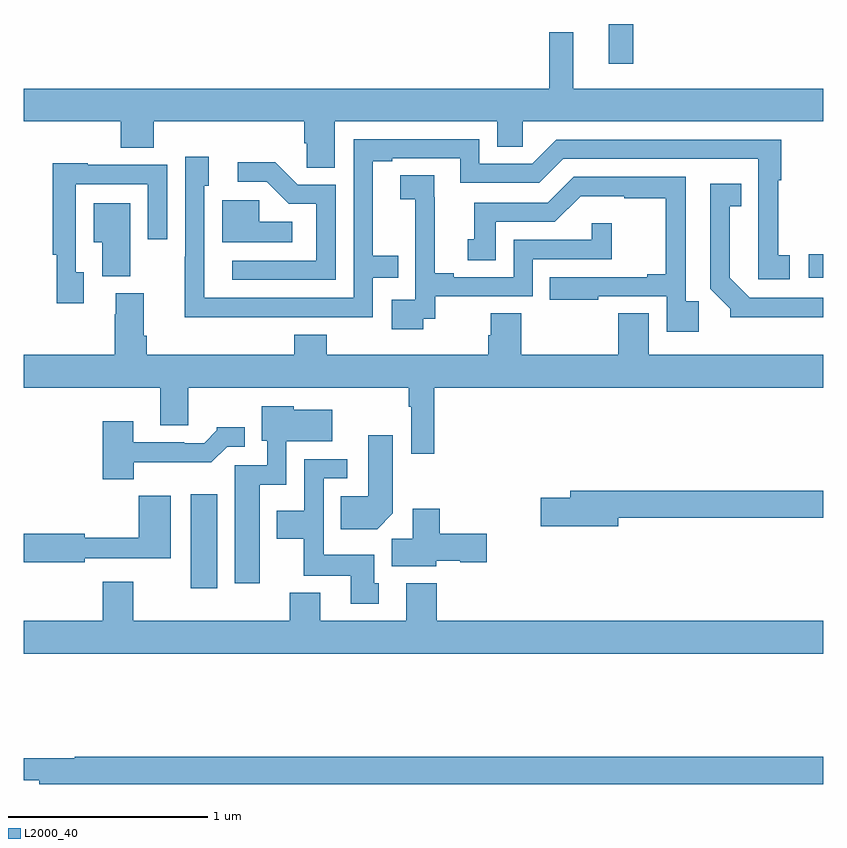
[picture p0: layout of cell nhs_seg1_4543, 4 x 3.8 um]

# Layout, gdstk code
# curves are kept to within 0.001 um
import gdstk
lib = gdstk.Library(unit=1e-6, precision=1e-09)
def R(c, l, rs):  # rectangles x0, y0, x1, y1
    for r in rs: c.add(gdstk.rectangle(r[:2], r[2:], *l))
def P(c, l, *ps):  # polygons
    for p in ps: c.add(gdstk.Polygon(p, *l))
L2000_40 = (2000, 40)

nhs_seg1_4543 = lib.new_cell('nhs_seg1_4543')
R(nhs_seg1_4543, L2000_40, [(357.836,569.376,357.967,569.845), (360.927,570.93,361,571.046), (359.927,572.001,360.049,572.199)])
P(nhs_seg1_4543, L2000_40, [(358.555,571.712),(359.369,571.712),(359.369,571.585),(359.496,571.585),(359.496,571.712),(361,571.712),(361,571.876),(359.749,571.876),(359.749,572.158),(359.628,572.158),(359.628,571.876),(357,571.876),(357,571.712),(357.485,571.712),(357.485,571.579),(357.65,571.579),(357.65,571.712),(358.403,571.712),(358.403,571.603),(358.416,571.603),(358.416,571.48),(358.555,571.48)],
  [(358.268,570.732),(358.746,570.732),(358.746,570.93),(358.874,570.93),(358.874,571.039),(358.747,571.039),(358.747,571.512),(358.843,571.512),(358.843,571.527),(359.184,571.527),(359.184,571.404),(359.58,571.404),(359.7,571.524),(360.675,571.524),(360.674,570.921),(360.832,570.921),(360.832,571.041),(360.774,571.041),(360.774,571.417),(360.791,571.417),(360.791,571.62),(359.664,571.62),(359.544,571.5),(359.28,571.5),(359.28,571.623),(358.65,571.623),(358.65,570.828),(357.903,570.828),(357.903,571.389),(357.925,571.389),(357.925,571.534),(357.807,571.534),(357.806,570.731)],
  [(358.56,571.395),(358.371,571.395),(358.258,571.508),(358.071,571.508),(358.071,571.41),(358.215,571.41),(358.326,571.299),(358.464,571.299),(358.464,571.014),(358.044,571.014),(358.044,570.918),(358.56,570.918)],
  [(357.301,570.957),(357.261,570.957),(357.261,571.398),(357.621,571.398),(357.621,571.122),(357.717,571.122),(357.717,571.494),(357.321,571.494),(357.321,571.501),(357.145,571.501),(357.145,571.045),(357.164,571.045),(357.164,570.801),(357.301,570.801)],
  [(358.998,570.723),(359.06,570.723),(359.06,570.837),(359.547,570.837),(359.547,571.023),(359.942,571.023),(359.942,571.201),(359.841,571.201),(359.841,571.119),(359.451,571.119),(359.451,570.933),(359.152,570.933),(359.152,570.953),(359.056,570.953),(359.056,571.331),(359.054,571.331),(359.054,571.442),(358.884,571.442),(358.884,571.321),(358.958,571.321),(358.958,571.123),(358.959,571.123),(358.959,570.819),(358.842,570.819),(358.842,570.672),(358.998,570.672)],
  [(360.377,570.811),(360.312,570.811),(360.312,571.434),(359.751,571.434),(359.622,571.305),(359.255,571.305),(359.255,571.122),(359.222,571.122),(359.222,571.018),(359.362,571.018),(359.362,571.209),(359.658,571.209),(359.786,571.337),(360.005,571.337),(360.005,571.326),(360.211,571.326),(360.211,570.946),(360.119,570.946),(360.119,570.933),(359.632,570.933),(359.632,570.818),(359.875,570.818),(359.875,570.837),(360.216,570.837),(360.216,570.66),(360.377,570.66)],
  [(360.968,570.732),(361,570.732),(361,570.828),(360.633,570.828),(360.532,570.929),(360.532,571.286),(360.59,571.286),(360.59,571.399),(360.435,571.399),(360.435,570.874),(360.534,570.775),(360.534,570.731)],
  [(358.342,571.21),(358.179,571.21),(358.179,571.317),(357.992,571.317),(357.992,571.106),(358.342,571.106)],
  [(357.532,571.303),(357.35,571.303),(357.35,571.106),(357.392,571.106),(357.392,570.937),(357.532,570.937)],
  [(359.054,570.38),(361,570.38),(361,570.544),(360.127,570.544),(360.127,570.752),(359.975,570.752),(359.975,570.544),(359.489,570.544),(359.489,570.752),(359.336,570.752),(359.336,570.642),(359.324,570.642),(359.324,570.544),(358.517,570.544),(358.517,570.643),(358.352,570.643),(358.352,570.544),(357.614,570.544),(357.614,570.64),(357.601,570.64),(357.601,570.852),(357.461,570.852),(357.461,570.746),(357.454,570.746),(357.454,570.544),(357,570.544),(357,570.38),(357.683,570.38),(357.683,570.19),(357.823,570.19),(357.823,570.38),(358.926,570.38),(358.926,570.284),(358.938,570.284),(358.938,570.048),(359.054,570.048)],
  [(358.18,569.894),(358.314,569.894),(358.314,570.11),(358.543,570.11),(358.543,570.268),(358.35,570.268),(358.35,570.286),(358.19,570.286),(358.19,570.114),(358.218,570.114),(358.218,569.991),(358.055,569.991),(358.055,569.4),(358.18,569.4)],
  [(357.55,570.006),(357.939,570.006),(358.017,570.084),(358.105,570.084),(358.105,570.181),(357.966,570.181),(357.966,570.166),(357.902,570.102),(357.803,570.102),(357.803,570.105),(357.547,570.105),(357.547,570.211),(357.395,570.211),(357.395,569.921),(357.55,569.921)],
  [(358.846,569.75),(358.846,570.142),(358.724,570.142),(358.724,569.836),(358.585,569.836),(358.585,569.672),(358.768,569.672)],
  [(358.777,569.4),(358.753,569.4),(358.753,569.542),(358.5,569.542),(358.5,569.925),(358.618,569.925),(358.618,570.021),(358.404,570.021),(358.404,569.764),(358.265,569.764),(358.265,569.624),(358.402,569.624),(358.402,569.438),(358.637,569.438),(358.637,569.298),(358.777,569.298)],
  [(359.974,569.728),(361,569.728),(361,569.864),(359.735,569.864),(359.735,569.828),(359.586,569.828),(359.586,569.686),(359.974,569.686)],
  [(357.306,569.526),(357.736,569.526),(357.736,569.839),(357.574,569.839),(357.574,569.627),(357.306,569.627),(357.306,569.648),(357,569.648),(357,569.506),(357.306,569.506)],
  [(359.064,569.513),(359.184,569.513),(359.184,569.506),(359.317,569.506),(359.317,569.648),(359.081,569.648),(359.081,569.773),(358.946,569.773),(358.946,569.624),(358.841,569.624),(358.841,569.486),(359.064,569.486)],
  [(361,569.212),(359.066,569.212),(359.066,569.401),(358.913,569.401),(358.913,569.212),(358.483,569.212),(358.483,569.353),(358.331,569.353),(358.331,569.212),(357.547,569.212),(357.547,569.407),(357.395,569.407),(357.395,569.212),(357,569.212),(357,569.048),(361,569.048)],
  [(361,568.532),(357.255,568.532),(357.255,568.525),(357,568.525),(357,568.415),(357.076,568.415),(357.076,568.396),(361,568.396)])

lib.write_gds('nhs_seg1_4543.gds')
